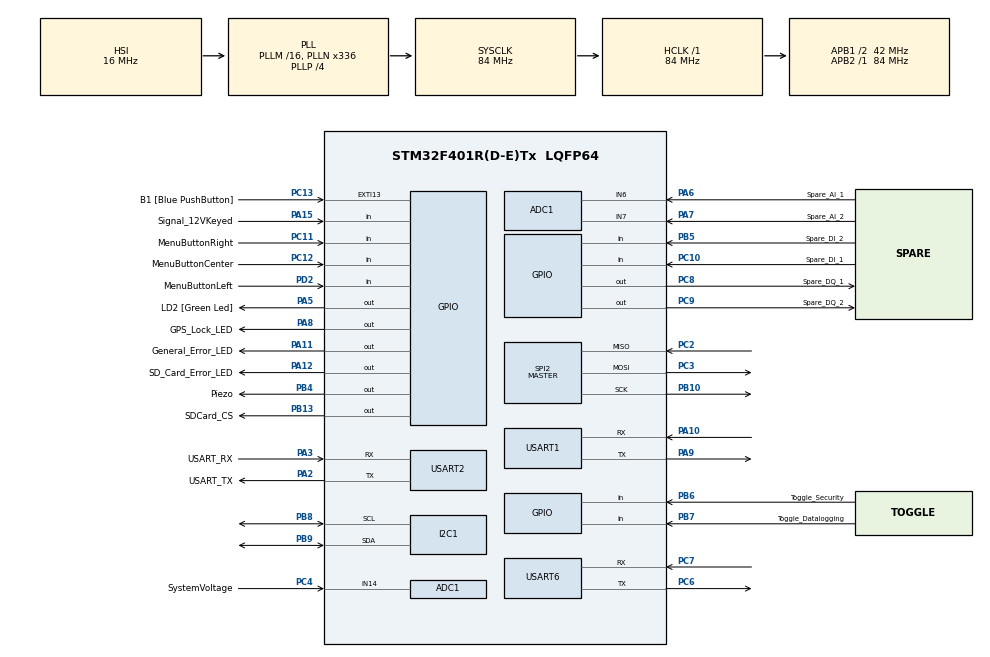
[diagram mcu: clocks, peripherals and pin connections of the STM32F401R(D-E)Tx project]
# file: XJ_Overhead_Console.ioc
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ADC1.Channel-1\#ChannelRegularConversion=ADC_CHANNEL_6
ADC1.NbrOfConversionFlag=1
ADC1.Rank-1\#ChannelRegularConversion=1
ADC1.SamplingTime-1\#ChannelRegularConversion=ADC_SAMPLETIME_3CYCLES
ADC1.master=1
Dma.I2C1_RX.2.Direction=DMA_PERIPH_TO_MEMORY
Dma.I2C1_RX.2.FIFOMode=DMA_FIFOMODE_DISABLE
Dma.I2C1_RX.2.Instance=DMA1_Stream0
Dma.I2C1_RX.2.MemDataAlignment=DMA_MDATAALIGN_BYTE
Dma.I2C1_RX.2.MemInc=DMA_MINC_ENABLE
Dma.I2C1_RX.2.Mode=DMA_NORMAL
Dma.I2C1_RX.2.PeriphDataAlignment=DMA_PDATAALIGN_BYTE
Dma.I2C1_RX.2.PeriphInc=DMA_PINC_DISABLE
Dma.I2C1_RX.2.Priority=DMA_PRIORITY_LOW
Dma.I2C1_TX.1.Direction=DMA_MEMORY_TO_PERIPH
Dma.I2C1_TX.1.FIFOMode=DMA_FIFOMODE_DISABLE
Dma.I2C1_TX.1.Instance=DMA1_Stream6
Dma.I2C1_TX.1.MemDataAlignment=DMA_MDATAALIGN_BYTE
Dma.I2C1_TX.1.MemInc=DMA_MINC_ENABLE
Dma.I2C1_TX.1.Mode=DMA_NORMAL
Dma.I2C1_TX.1.PeriphDataAlignment=DMA_PDATAALIGN_BYTE
Dma.I2C1_TX.1.PeriphInc=DMA_PINC_DISABLE
Dma.I2C1_TX.1.Priority=DMA_PRIORITY_LOW
Dma.Request0=USART2_RX
Dma.Request1=I2C1_TX
Dma.Request2=I2C1_RX
Dma.USART2_RX.0.Direction=DMA_PERIPH_TO_MEMORY
Dma.USART2_RX.0.FIFOMode=DMA_FIFOMODE_DISABLE
Dma.USART2_RX.0.Instance=DMA1_Stream5
Dma.USART2_RX.0.MemDataAlignment=DMA_MDATAALIGN_BYTE
Dma.USART2_RX.0.MemInc=DMA_MINC_ENABLE
Dma.USART2_RX.0.Mode=DMA_NORMAL
Dma.USART2_RX.0.PeriphDataAlignment=DMA_PDATAALIGN_BYTE
Dma.USART2_RX.0.PeriphInc=DMA_PINC_DISABLE
Dma.USART2_RX.0.Priority=DMA_PRIORITY_LOW
Mcu.Family=STM32F4
Mcu.Name=STM32F401R(D-E)Tx
Mcu.Package=LQFP64
NVIC.DMA1_Stream0_IRQn=true\:0\:0\:false\:false\:true\:false\:true\:true
NVIC.DMA1_Stream5_IRQn=true\:0\:0\:false\:false\:true\:false\:true\:true
NVIC.DMA1_Stream6_IRQn=true\:0\:0\:false\:false\:true\:false\:true\:true
NVIC.I2C1_ER_IRQn=true\:0\:0\:false\:false\:true\:true\:true\:true
NVIC.I2C1_EV_IRQn=true\:0\:0\:false\:false\:true\:true\:true\:true
NVIC.PriorityGroup=NVIC_PRIORITYGROUP_0
NVIC.USART2_IRQn=true\:0\:0\:false\:false\:true\:true\:true\:true
PA10.Mode=Asynchronous
PA10.Signal=USART1_RX
PA11.GPIO_Label=General_Error_LED
PA11.Signal=GPIO_Output
PA12.GPIO_Label=SD_Card_Error_LED
PA12.Signal=GPIO_Output
PA13.GPIO_Label=TMS
PA13.Mode=Serial_Wire
PA13.Signal=SYS_JTMS-SWDIO
PA14.GPIO_Label=TCK
PA14.Mode=Serial_Wire
PA14.Signal=SYS_JTCK-SWCLK
PA15.GPIO_Label=Signal_12VKeyed
PA15.GPIO_PuPd=GPIO_PULLUP
PA15.Signal=GPIO_Input
PA2.GPIO_Label=USART_TX
PA2.GPIO_Mode=GPIO_MODE_AF_PP
PA2.GPIO_PuPd=GPIO_NOPULL
PA2.GPIO_Speed=GPIO_SPEED_FREQ_LOW
PA2.Mode=Asynchronous
PA2.Signal=USART2_TX
PA3.GPIO_Label=USART_RX
PA3.GPIO_Mode=GPIO_MODE_AF_PP
PA3.GPIO_PuPd=GPIO_NOPULL
PA3.GPIO_Speed=GPIO_SPEED_FREQ_LOW
PA3.Mode=Asynchronous
PA3.Signal=USART2_RX
PA5.GPIO_Label=LD2 [Green Led]
PA5.GPIO_Mode=GPIO_MODE_OUTPUT_PP
PA5.GPIO_PuPd=GPIO_NOPULL
PA5.GPIO_Speed=GPIO_SPEED_FREQ_LOW
PA5.Signal=GPIO_Output
PA6.GPIO_Label=Spare_AI_1
PA6.Signal=ADCx_IN6
PA7.GPIO_Label=Spare_AI_2
PA7.Signal=ADCx_IN7
PA8.GPIO_Label=GPS_Lock_LED
PA8.Signal=GPIO_Output
PA9.Mode=Asynchronous
PA9.Signal=USART1_TX
PB10.Mode=Full_Duplex_Master
PB10.Signal=SPI2_SCK
PB13.GPIO_Label=SDCard_CS
PB13.Signal=GPIO_Output
PB3.GPIO_Label=SWO
PB3.Signal=SYS_JTDO-SWO
PB4.GPIO_Label=Piezo
PB4.GPIO_Speed=GPIO_SPEED_FREQ_HIGH
PB4.Signal=GPIO_Output
PB5.GPIO_Label=Spare_DI_2
PB5.Signal=GPIO_Input
PB6.GPIO_Label=Toggle_Security
PB6.Signal=GPIO_Input
PB7.GPIO_Label=Toggle_Datalogging
PB7.Signal=GPIO_Input
PB8.GPIO_Pu=GPIO_PULLUP
PB8.Mode=I2C
PB8.Signal=I2C1_SCL
PB9.GPIO_Pu=GPIO_PULLUP
PB9.Mode=I2C
PB9.Signal=I2C1_SDA
PC10.GPIO_Label=Spare_DI_1
PC10.Signal=GPIO_Input
PC11.GPIO_Label=MenuButtonRight
PC11.GPIO_PuPd=GPIO_PULLUP
PC11.Signal=GPIO_Input
PC12.GPIO_Label=MenuButtonCenter
PC12.GPIO_PuPd=GPIO_PULLUP
PC12.Signal=GPIO_Input
PC13-ANTI_TAMP.GPIO_Label=B1 [Blue PushButton]
PC13-ANTI_TAMP.GPIO_ModeDefaultEXTI=GPIO_MODE_IT_FALLING
PC13-ANTI_TAMP.GPIO_PuPd=GPIO_NOPULL
PC13-ANTI_TAMP.Signal=GPXTI13
PC14-OSC32_IN.Mode=LSE-External-Oscillator
PC14-OSC32_IN.Signal=RCC_OSC32_IN
PC15-OSC32_OUT.Mode=LSE-External-Oscillator
PC15-OSC32_OUT.Signal=RCC_OSC32_OUT
PC2.Mode=Full_Duplex_Master
PC2.Signal=SPI2_MISO
PC3.Mode=Full_Duplex_Master
PC3.Signal=SPI2_MOSI
PC4.GPIO_Label=SystemVoltage
PC4.Signal=ADCx_IN14
PC6.Mode=Asynchronous
PC6.Signal=USART6_TX
PC7.Mode=Asynchronous
PC7.Signal=USART6_RX
PC8.GPIO_Label=Spare_DQ_1
PC8.Signal=GPIO_Output
PC9.GPIO_Label=Spare_DQ_2
PC9.Signal=GPIO_Output
PD2.GPIO_Label=MenuButtonLeft
PD2.GPIO_PuPd=GPIO_PULLUP
PD2.Signal=GPIO_Input
PH0\ -\ OSC_IN.Mode=HSE-External-Clock-Source
PH0\ -\ OSC_IN.Signal=RCC_OSC_IN
PH1\ -\ OSC_OUT.Mode=HSE-External-Clock-Source
PH1\ -\ OSC_OUT.Signal=RCC_OSC_OUT
ProjectManager.HeapSize=0x200
ProjectManager.StackSize=0x400
ProjectManager.TargetToolchain=STM32CubeIDE
RCC.48MHZClocksFreq_Value=48000000
RCC.AHBFreq_Value=84000000
RCC.APB1CLKDivider=RCC_HCLK_DIV2
RCC.APB1Freq_Value=42000000
RCC.APB1TimFreq_Value=84000000
RCC.APB2Freq_Value=84000000
RCC.APB2TimFreq_Value=84000000
RCC.CortexFreq_Value=84000000
RCC.HCLKFreq_Value=84000000
RCC.HSE_VALUE=8000000
RCC.HSI_VALUE=16000000
RCC.PLLN=336
RCC.PLLP=RCC_PLLP_DIV4
RCC.PLLQ=7
RCC.SYSCLKFreq_VALUE=84000000
RCC.SYSCLKSource=RCC_SYSCLKSOURCE_PLLCLK
RCC.VCOOutputFreq_Value=336000000
RTC.SynchPrediv=260
SH.ADCx_IN14.0=ADC1_IN14,IN14
SH.ADCx_IN6.0=ADC1_IN6,IN6
SH.ADCx_IN7.0=ADC1_IN7,IN7
SPI2.Direction=SPI_DIRECTION_2LINES
SPI2.Mode=SPI_MODE_MASTER
SPI2.VirtualType=VM_MASTER
TIM1.Period=0xffff-1
TIM1.Prescaler=84-1
USART1.VirtualMode=VM_ASYNC
USART2.VirtualMode=VM_ASYNC
USART6.VirtualMode=VM_ASYNC
VP_RTC_VS_RTC_Activate.Mode=RTC_Enabled
VP_TIM1_VS_ClockSourceINT.Mode=Internal
board=NUCLEO-F401RE

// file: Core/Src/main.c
/* USER CODE BEGIN Header */
/**
  ******************************************************************************
  * @file           : main.c
  * @brief          : Main program body
  ******************************************************************************
  * @attention
  *
  * Copyright (c) 2024 STMicroelectronics.
  * All rights reserved.
  *
  * This software is licensed under terms that can be found in the LICENSE file
  * in the root directory of this software component.
  * If no LICENSE file comes with this software, it is provided AS-IS.
  *
  ******************************************************************************
  */
/* USER CODE END Header */
#include "main.h"
#include "adc.h"
#include "dma.h"
#include "i2c.h"
#include "rtc.h"
#include "spi.h"
#include "tim.h"
#include "usart.h"
#include "gpio.h"

/* USER CODE BEGIN Includes */
#include <stdio.h>
#include <stdlib.h>
#include "lcd.h"
#include "bmp280.h"

/* USER CODE END Includes */

/* USER CODE BEGIN PV */
// As a style guide, all private vars here should be prefaced with gpv_ for Global Private Variable

int gpv_UART2_DMA_RX_Complete = 0;
/* USER CODE END PV */

void SystemClock_Config(void);
/* USER CODE BEGIN PFP */

// This will redirect printf() to our UART instance, huart2 in this case
// This, along with #include <stdio.h> up top, allows us to easily print to UART
// from https://forum.digikey.com/t/easily-use-printf-on-stm32/20157
#ifdef __GNUC__
#define PUTCHAR_PROTOTYPE int __io_putchar(int ch)
#else
#define PUTCHAR_PROTOTYPE int fputc(int ch, FILE *f)
#endif

PUTCHAR_PROTOTYPE
{
  HAL_UART_Transmit(&huart2, (uint8_t *)&ch, 1, HAL_MAX_DELAY);
  return ch;
}

void BMP280_DriverTest();
void GY521_DriverTest();
void UART_UserSetRTC();
void Test_LoopTest();
void UART_I2CScanDevices();

/* USER CODE END PFP */

int main(void)
{

  /* MCU Configuration--------------------------------------------------------*/

  /* Reset of all peripherals, Initializes the Flash interface and the Systick. */
  HAL_Init();

  /* Configure the system clock */
  SystemClock_Config();

  /* Initialize all configured peripherals */
  MX_GPIO_Init();
  MX_DMA_Init();
  MX_USART2_UART_Init();
  MX_ADC1_Init();
  MX_I2C1_Init();
  MX_RTC_Init();
  MX_SPI2_Init();
  MX_USART1_UART_Init();
  MX_USART6_UART_Init();
  MX_TIM1_Init();
  /* USER CODE BEGIN 2 */

  // All UART RXs in this code expect a single "\n" control character
  // from the serial terminal, so give a warning to anyone trying to communicate
  printf("Send only newlines, not also carriage returns.\r\n");

  /* Add I2C and scan the bus for all addresses that respond */
  // TODO: Replace generic i2c scanner with a scanner that specifically looks for our modules only
  // 20x4 LCD: 0x27, BMP280: 0x76, GY-521: 0x68, TODO: get addresses for other modules
  UART_I2CScanDevices();

  /*
   * 	TODO: Test all sensor drivers here
   */

  GY521_DriverTest();

  /* Interface with the BMP280 */
  BMP280_DriverTest();

  /* Display a splash screen on the LCD */
  // LCD_Init() must be called AFTER I2C and TIM1 Inits!
  LCD_Init(&hi2c1, (uint8_t)0x27, 4, 20);
  LCD_Backlight(LCD_BIT_BACKLIGHT_ON);
  LCD_PrintString((uint8_t*)"LOADING", 7);
  LCD_SetCursorPosition(0, 1);
  LCD_PrintString((uint8_t*)"Please Wait", 11);
  LCD_SetCursorPosition(0, 2);
  LCD_PrintString((uint8_t*)"Version 1.0", 11);

  /* Get and set the RTC module */
  // Setting RTC is done following the procedure in UM1725 section 57.2
  // Enable backup domain access for the RTC first (according to documentation UM1725 57.2.3)
  __HAL_RCC_PWR_CLK_ENABLE();
  HAL_PWR_EnableBkUpAccess();
  __HAL_RCC_RTC_CONFIG(RCC_RTCCLKSOURCE_LSI);
  __HAL_RCC_RTC_ENABLE();

  UART_UserSetRTC();

  /* USER CODE END 2 */

  /* Infinite loop */
  /* USER CODE BEGIN WHILE */

#define LCD_INTERVAL_MS	500
#define DATALOG_INTERVAL_MS 5000
  uint32_t LCD_PrevTick = 0;
  uint32_t Datalog_PrevTick = 0;

  typedef enum
  {
	State_IDLE = 0,
  	State_INIT = 1,
	State_RUN = 2,
	State_SECURE = 3
  } Controller_State;
  Controller_State mainState = State_IDLE;

  // Main program loop
  while (1)
  {
	  // Main state machine
	  switch (mainState)
	  {
	  case State_IDLE:

		  /*
		   * 	TODO: Implement IDLE state
		   */

		  break;
	  case State_INIT:

		  /*
		   * 	TODO: Implement INITIALIZATION state
		   */

		  break;
	  case State_RUN:
		  // Running state procedure
		  if (HAL_GPIO_ReadPin(GPIOA, Signal_12VKeyed_Pin) == 1)	// If 12V Keyed present, normal operation
		  {
			  /*
			   * 	TODO: Go through each sensor and put its raw data into the buffers
			   */

			  /*
			   * 	TODO: Process the raw data from buffers and place into final value storage
			   */

			  /*
			   * 	TODO: Check for the 3 flags and light LEDs accordingly: GPS locked, SD error, general error
			   */

			  /*
			   * 	Check the datalog interval timer and log the data if needed
			   */
			  uint32_t Datalog_CurrTick = HAL_GetTick();
			  if (Datalog_CurrTick - Datalog_PrevTick > DATALOG_INTERVAL_MS)
			  {
				  Datalog_PrevTick = Datalog_CurrTick;

				  if (HAL_GPIO_ReadPin(GPIOB, Toggle_Datalogging_Pin) == 1)
				  {
					  /*
					   * 	TODO: Save all the final data into the SD card
					   */
				  }
			  }

			  /*
			   * 	Check the LCD interval timer and display the data page
			   */
			  uint32_t LCD_CurrTick = HAL_GetTick();
			  if (LCD_CurrTick - LCD_PrevTick > LCD_INTERVAL_MS)
			  {
				  LCD_PrevTick = LCD_CurrTick;

				  /*
				   * 	TODO: Run the display page switch case here to display the current data page on an interval
				   */

				  /*
				   * 	TODO: Print data to the UART if we established a connection during initialization
				   */
			  }
		  }
		  else	// 12V Keyed lost, begin shutdown
		  {
			  // Shutdown SD datalogging if enabled
			  if (HAL_GPIO_ReadPin(GPIOB, Toggle_Datalogging_Pin) == 1)
			  {
				  /*
				   * 	TODO: Close the datalog file and do something to de-init the SD card
				   */
			  }

			  // Now decide which state to go into
			  if (HAL_GPIO_ReadPin(GPIOB, Toggle_Security_Pin) == 1)
			  {
				  mainState = State_SECURE;
			  }
			  else
			  {
				  mainState = State_IDLE;
			  }
		  }
		  break;
	  case State_SECURE:

		  /*
		   * 	TODO: Implement SECURITY state
		   */

		  break;
	  default:
		  // error situation here, try going to idle
		  mainState = State_IDLE;
		  break;
	  }
    /* USER CODE END WHILE */

  }
}

void SystemClock_Config(void)
{
  RCC_OscInitTypeDef RCC_OscInitStruct = {0};
  RCC_ClkInitTypeDef RCC_ClkInitStruct = {0};

  /** Configure the main internal regulator output voltage
  */
  __HAL_RCC_PWR_CLK_ENABLE();
  __HAL_PWR_VOLTAGESCALING_CONFIG(PWR_REGULATOR_VOLTAGE_SCALE2);

  /** Initializes the RCC Oscillators according to the specified parameters
  * in the RCC_OscInitTypeDef structure.
  */
  RCC_OscInitStruct.OscillatorType = RCC_OSCILLATORTYPE_HSI|RCC_OSCILLATORTYPE_LSI;
  RCC_OscInitStruct.HSIState = RCC_HSI_ON;
  RCC_OscInitStruct.HSICalibrationValue = RCC_HSICALIBRATION_DEFAULT;
  RCC_OscInitStruct.LSIState = RCC_LSI_ON;
  RCC_OscInitStruct.PLL.PLLState = RCC_PLL_ON;
  RCC_OscInitStruct.PLL.PLLSource = RCC_PLLSOURCE_HSI;
  RCC_OscInitStruct.PLL.PLLM = 16;
  RCC_OscInitStruct.PLL.PLLN = 336;
  RCC_OscInitStruct.PLL.PLLP = RCC_PLLP_DIV4;
  RCC_OscInitStruct.PLL.PLLQ = 7;
  if (HAL_RCC_OscConfig(&RCC_OscInitStruct) != HAL_OK)
  {
    Error_Handler();
  }

  /** Initializes the CPU, AHB and APB buses clocks
  */
  RCC_ClkInitStruct.ClockType = RCC_CLOCKTYPE_HCLK|RCC_CLOCKTYPE_SYSCLK
                              |RCC_CLOCKTYPE_PCLK1|RCC_CLOCKTYPE_PCLK2;
  RCC_ClkInitStruct.SYSCLKSource = RCC_SYSCLKSOURCE_PLLCLK;
  RCC_ClkInitStruct.AHBCLKDivider = RCC_SYSCLK_DIV1;
  RCC_ClkInitStruct.APB1CLKDivider = RCC_HCLK_DIV2;
  RCC_ClkInitStruct.APB2CLKDivider = RCC_HCLK_DIV1;

  if (HAL_RCC_ClockConfig(&RCC_ClkInitStruct, FLASH_LATENCY_2) != HAL_OK)
  {
    Error_Handler();
  }
}

/* USER CODE BEGIN 4 */

/**
 * @brief	BMP280 test driver
 */
void BMP280_DriverTest()
{
	BMP280_Init(&hi2c1, (uint8_t)0x76);
	  static uint32_t i;

	  // RAW temperature and pressure values
	  int32_t UT, UP;

	  // Human-readable temperature and pressure
	  int32_t temperature;
	  uint32_t pressure;

	  while (1) {
	  		// Check status of chip
	  		i = BMP280_GetStatus();
	  		printf("Status: [%02X] %s %s\r\n",
	  				i,
	  				(i & BMP280_STATUS_MEASURING) ? "MEASURING" : "READY",
	  				(i & BMP280_STATUS_IM_UPDATE) ? "NVM_UPDATE" : "NVM_READY"
	  			);

	  		// Get raw readings from the chip
	  		i = BMP280_ReadUTP(&UT, &UP);
	  		printf("Raw: T=0x%05X P=0x%05X [R=%s]\r\n",
	  				UT,
	  				UP,
	  				i ? "OK" : "ERROR"
	  			);

	  		if (UT == 0x80000) {
	  			// Either temperature measurement is configured as 'skip' or first conversion is not completed yet
	  			printf("Temperature: no data\r\n");
	  			// There is no sense to calculate pressure without temperature readings
	  			printf("Pressure: no temperature readings\r\n");
	  		} else {
	  			// Temperature (must be calculated first)
	  			//  UT = 0x84D3C; // test raw value: 25.90C
	  			temperature = BMP280_CalcT((int32_t)0x84DC3);
	  			int t = temperature / 100.0f;
	  			printf("Temperature: %.2iC\r\n", t);

	  			if (UP == 0x80000) {
	  				// Either pressure measurement is configured as 'skip' or first conversion is not completed yet
	  				printf("Pressure: no data\r\n");
	  			} else {
	  				// Pressure
	  				pressure = BMP280_CalcP(UP);
	  				printf("Pressure: %.3uPa [%.3uhPa]\r\n",
	  						pressure,
	  						pressure / 100
	  					);

	  				printf("mmHg: %.3u\r\n",
	  						BMP280_Pa_to_mmHg(pressure)
	  					);

	  			}
	  		}

	  		printf("------------------------\r\n");

	  		// Invert state of the Nucleo LED
	  		//GPIO_PIN_INVERT(GPIOA, GPIO_PIN_5);

	  		HAL_Delay(1000);
	  	}
}

/**
 * @brief	GY-521 test driver
 */
void GY521_DriverTest()
{

}

/**
 * @brief	Testing loop
 */
void Test_LoopTest()
{
	  // The goal for now is to transmit the now set time from the RTC, once a second.
	  RTC_DateTypeDef getDate;
	  RTC_TimeTypeDef getTime;
	  char timeString[25];
	  char dateString[25];
	  HAL_RTC_GetTime(&hrtc, &getTime, RTC_FORMAT_BIN);
	  HAL_RTC_GetDate(&hrtc, &getDate, RTC_FORMAT_BIN);
	  sprintf(timeString, "%02d:%02d:%02d", getTime.Hours, getTime.Minutes, getTime.Seconds);
	  printf(timeString);
	  printf(" ");
	  sprintf(dateString, "%02d/%02d/%02d", getDate.Month, getDate.Date, getDate.Year);
	  printf(dateString);
	  printf("\r\n");

	  // For now we just print the RTC time to the LCD
	  LCD_SetCursorPosition(0,2);
	  LCD_PrintString((uint8_t*)timeString, 8);
	  LCD_SetCursorPosition(0,3);
	  LCD_PrintString((uint8_t*)dateString, 8);

	  HAL_Delay(1000);
}

/**
 * @brief	I2C scanner that prints to the serial terminal
 */
void UART_I2CScanDevices()
{
	printf("Scanning I2C bus.\r\n");
	  int ret = 0;
	  char i2cBuffer[5] = {0};
	  // Scan all 128 available i2c addresses
	  for (uint8_t testAddr = 1; testAddr < 128; testAddr++)
	  {
		  ret = HAL_I2C_IsDeviceReady(&hi2c1, (uint16_t)(testAddr<<1), 3, 5);
		  if (ret == HAL_OK) // If an ACK was received at address testAddr
		  {
			  sprintf(i2cBuffer, "0x%X", testAddr);
			  printf("Device at: ");
			  printf(i2cBuffer);
			  printf("\r\n");
		  }
	  }
	  printf("Done.\r\n");
}

/**
 * @brief	Set the RTC time using the UART
 */
void UART_UserSetRTC()
{
	char timeString[25];
	  char dateString[25];
	  uint8_t uartBuffer[10] = {0};
	  RTC_DateTypeDef dateRTC;
	  RTC_TimeTypeDef timeRTC;

	  printf("Current date and time: ");
	  HAL_RTC_GetTime(&hrtc, &timeRTC, RTC_FORMAT_BIN);
	  HAL_RTC_GetDate(&hrtc, &dateRTC, RTC_FORMAT_BIN);

	  sprintf(timeString, "%02d:%02d:%02d", timeRTC.Hours, timeRTC.Minutes, timeRTC.Seconds);
	  printf(timeString);
	  printf(" ");
	  sprintf(dateString, "%02d/%02d/%02d", dateRTC.Month, dateRTC.Date, dateRTC.Year);
	  printf(dateString);

	  printf("\r\nSet the time? (y/n)\r\n");
	  HAL_UART_Receive(&huart2, uartBuffer, 2, HAL_MAX_DELAY);

	  if (uartBuffer[0] == 'y' || uartBuffer[0] == 'Y')
	  {
		  // ask the user to set the time and date
		  printf("Enter the time in 24hr format (HH:MM)\r\n");
		  HAL_UART_Receive(&huart2, uartBuffer, 6, HAL_MAX_DELAY);

		  char charHrs[2] = {uartBuffer[0], uartBuffer[1]};
		  char charMins[2] = {uartBuffer[3], uartBuffer[4]};
		  timeRTC.Hours = atoi(charHrs);
		  timeRTC.Minutes = atoi(charMins);

		  uint8_t dst = 0;
		  printf("Daylight savings time? (y/n)\r\n");
		  HAL_UART_Receive(&huart2, uartBuffer, 2, HAL_MAX_DELAY);

		  if (uartBuffer[0] == 'y' || uartBuffer[0] == 'Y') dst = RTC_DAYLIGHTSAVING_ADD1H;
		  else dst = RTC_DAYLIGHTSAVING_NONE;

		  // The daylight savings and store operation interfaces have been
		  // deprecated but we will worry about that later
		  // TODO: Update interface for RTC daylight savings time
		  timeRTC.Seconds = 0;
		  timeRTC.TimeFormat = RTC_HOURFORMAT12_PM;
		  timeRTC.DayLightSaving = dst;
		  timeRTC.StoreOperation = RTC_STOREOPERATION_RESET;

		  if (HAL_RTC_SetTime(&hrtc, &timeRTC, RTC_FORMAT_BIN) != HAL_OK)
		  {
			printf("INVALID TIME.\r\n");
			Error_Handler();
		  }

		  printf("Enter the date (MM-DD-YY)\r\n");
		  HAL_UART_Receive(&huart2, uartBuffer, 8, HAL_MAX_DELAY);

		  char charMM[2] = {uartBuffer[0], uartBuffer[1]};
		  char charDD[2] = {uartBuffer[3], uartBuffer[4]};
		  char charYY[2] = {uartBuffer[6], uartBuffer[7]};
		  dateRTC.Month = atoi(charMM);
		  dateRTC.Date = atoi(charDD);
		  dateRTC.Year = atoi(charYY);

		  if (HAL_RTC_SetDate(&hrtc, &dateRTC, RTC_FORMAT_BIN) != HAL_OK)
		  {
			  printf("INVALID DATE.\r\n");
			  Error_Handler();
		  }

		  // Update the backup register too as part of setting RTC
		  // from https://controllerstech.com/internal-rtc-in-stm32/
		  // The hex number was chosen randomly
		  HAL_RTCEx_BKUPWrite(&hrtc, RTC_BKP_DR1, 0x32F2);

		  // We'll confirm the new date and time by reading it out
		  printf("Current date and time: ");
		  HAL_RTC_GetTime(&hrtc, &timeRTC, RTC_FORMAT_BIN);
		  HAL_RTC_GetDate(&hrtc, &dateRTC, RTC_FORMAT_BIN);

		  sprintf(timeString, "%02d:%02d:%02d", timeRTC.Hours, timeRTC.Minutes, timeRTC.Seconds);
		  printf(timeString);
		  printf(" ");
		  sprintf(dateString, "%02d/%02d/%02d", dateRTC.Month, dateRTC.Date, dateRTC.Year);
		  printf(dateString);
		  printf("\r\n");
	  }
	  else printf("Skipping time set.\r\n");
}

/**
  * @brief UART 2 DMA RX complete callback
  * @retval None
  */
void HAL_UART_RxCpltCallback(UART_HandleTypeDef *huart)
{
	gpv_UART2_DMA_RX_Complete = 1;
	// this function from https://deepbluembedded.com/how-to-receive-uart-serial-data-with-stm32-dma-interrupt-polling/
    // This was commented out because we are currently using a circular DMA buffer
    // which runs continuously, so there is no need to restart the DMA RX process after one is completed
    //HAL_UART_Receive_DMA(&huart2, UART2_rxBuffer, RXBUFSIZE);
}

/* USER CODE END 4 */

void Error_Handler(void)
{
  /* USER CODE BEGIN Error_Handler_Debug */
  /* User can add his own implementation to report the HAL error return state */
  __disable_irq();
  while (1)
  {
	  printf("Error encountered.");
	  while (1);
  }
  /* USER CODE END Error_Handler_Debug */
}
